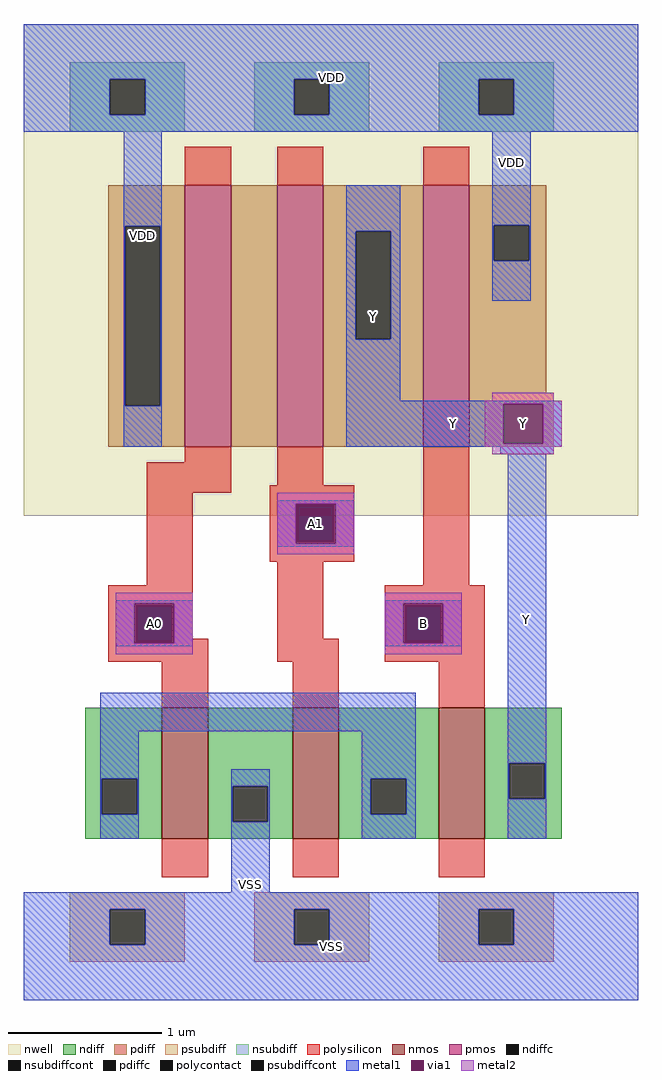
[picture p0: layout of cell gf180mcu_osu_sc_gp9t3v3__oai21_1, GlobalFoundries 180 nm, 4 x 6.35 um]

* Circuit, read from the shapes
.subckt gf180mcu_osu_sc_gp9t3v3__oai21_1 A0 A1 B Y VDD VSS
XM1 VSS A0 n1 VSS nfet_03v3 w=0.85u l=0.3u
XM2 n1 A1 VSS VSS nfet_03v3 w=0.85u l=0.3u
XM3 Y B n1 VSS nfet_03v3 w=0.85u l=0.3u
XM4 n2 A0 VDD VDD pfet_03v3 w=1.7u l=0.3u
XM5 Y A1 n2 VDD pfet_03v3 w=1.7u l=0.3u
XM6 VDD B Y VDD pfet_03v3 w=1.7u l=0.3u
.ends

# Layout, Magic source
magic
tech gf180mcuA
magscale 1 10
<< nwell >>
rect 0 630 800 1270
<< nmos >>
rect 180 210 240 380
rect 350 210 410 380
rect 540 210 600 380
<< pmos >>
rect 210 720 270 1060
rect 330 720 390 1060
rect 520 720 580 1060
<< ndiff >>
rect 80 288 180 380
rect 80 242 102 288
rect 148 242 180 288
rect 80 210 180 242
rect 240 278 350 380
rect 240 232 272 278
rect 318 232 350 278
rect 240 210 350 232
rect 410 288 540 380
rect 410 242 452 288
rect 498 242 540 288
rect 410 210 540 242
rect 600 308 700 380
rect 600 262 632 308
rect 678 262 700 308
rect 600 210 700 262
<< pdiff >>
rect 110 1007 210 1060
rect 110 773 132 1007
rect 178 773 210 1007
rect 110 720 210 773
rect 270 720 330 1060
rect 390 1000 520 1060
rect 390 860 432 1000
rect 478 860 520 1000
rect 390 720 520 860
rect 580 1008 680 1060
rect 580 962 612 1008
rect 658 962 680 1008
rect 580 790 680 962
rect 580 720 690 790
<< ndiffc >>
rect 102 242 148 288
rect 272 232 318 278
rect 452 242 498 288
rect 632 262 678 308
<< pdiffc >>
rect 132 773 178 1007
rect 432 860 478 1000
rect 612 962 658 1008
<< psubdiff >>
rect 60 118 210 140
rect 60 72 112 118
rect 158 72 210 118
rect 60 50 210 72
rect 300 118 450 140
rect 300 72 352 118
rect 398 72 450 118
rect 300 50 450 72
rect 540 118 690 140
rect 540 72 592 118
rect 638 72 690 118
rect 540 50 690 72
<< nsubdiff >>
rect 60 1198 210 1220
rect 60 1152 112 1198
rect 158 1152 210 1198
rect 60 1130 210 1152
rect 300 1198 450 1220
rect 300 1152 352 1198
rect 398 1152 450 1198
rect 300 1130 450 1152
rect 540 1198 690 1220
rect 540 1152 592 1198
rect 638 1152 690 1198
rect 540 1130 690 1152
<< psubdiffcont >>
rect 112 72 158 118
rect 352 72 398 118
rect 592 72 638 118
<< nsubdiffcont >>
rect 112 1152 158 1198
rect 352 1152 398 1198
rect 592 1152 638 1198
<< polysilicon >>
rect 210 1060 270 1110
rect 330 1060 390 1110
rect 520 1060 580 1110
rect 210 700 270 720
rect 160 660 270 700
rect 330 670 390 720
rect 160 540 220 660
rect 320 643 430 670
rect 320 597 357 643
rect 403 597 430 643
rect 320 570 430 597
rect 110 513 220 540
rect 110 467 147 513
rect 193 470 220 513
rect 330 470 390 570
rect 520 540 580 720
rect 470 513 600 540
rect 193 467 240 470
rect 110 440 240 467
rect 330 440 410 470
rect 470 467 497 513
rect 543 467 600 513
rect 470 440 600 467
rect 180 380 240 440
rect 350 380 410 440
rect 540 380 600 440
rect 180 160 240 210
rect 350 160 410 210
rect 540 160 600 210
<< polycontact >>
rect 357 597 403 643
rect 147 467 193 513
rect 497 467 543 513
<< metal1 >>
rect 0 1198 800 1270
rect 0 1152 112 1198
rect 158 1152 352 1198
rect 398 1152 592 1198
rect 638 1152 800 1198
rect 0 1130 800 1152
rect 130 1007 180 1130
rect 130 773 132 1007
rect 178 773 180 1007
rect 130 720 180 773
rect 420 1000 490 1060
rect 420 860 432 1000
rect 478 860 490 1000
rect 610 1008 660 1130
rect 610 962 612 1008
rect 658 962 660 1008
rect 610 910 660 962
rect 420 780 490 860
rect 420 776 700 780
rect 420 724 624 776
rect 676 724 700 776
rect 420 720 700 724
rect 620 710 690 720
rect 330 646 430 650
rect 330 594 354 646
rect 406 594 430 646
rect 330 590 430 594
rect 120 516 220 520
rect 120 464 144 516
rect 196 464 220 516
rect 120 460 220 464
rect 470 516 570 520
rect 470 464 494 516
rect 546 464 570 516
rect 470 460 570 464
rect 100 350 510 400
rect 100 288 150 350
rect 100 242 102 288
rect 148 242 150 288
rect 100 210 150 242
rect 270 278 320 300
rect 270 232 272 278
rect 318 232 320 278
rect 270 140 320 232
rect 440 288 510 350
rect 440 242 452 288
rect 498 242 510 288
rect 440 210 510 242
rect 630 308 680 710
rect 630 262 632 308
rect 678 262 680 308
rect 630 210 680 262
rect 0 118 800 140
rect 0 72 112 118
rect 158 72 352 118
rect 398 72 592 118
rect 638 72 800 118
rect 0 0 800 72
<< via1 >>
rect 624 724 676 776
rect 354 643 406 646
rect 354 597 357 643
rect 357 597 403 643
rect 403 597 406 643
rect 354 594 406 597
rect 144 513 196 516
rect 144 467 147 513
rect 147 467 193 513
rect 193 467 196 513
rect 144 464 196 467
rect 494 513 546 516
rect 494 467 497 513
rect 497 467 543 513
rect 543 467 546 513
rect 494 464 546 467
<< metal2 >>
rect 610 780 690 790
rect 600 776 700 780
rect 600 724 624 776
rect 676 724 700 776
rect 600 720 700 724
rect 610 710 690 720
rect 330 646 430 660
rect 330 594 354 646
rect 406 594 430 646
rect 330 580 430 594
rect 120 516 220 530
rect 120 464 144 516
rect 196 464 220 516
rect 120 450 220 464
rect 470 516 570 530
rect 470 464 494 516
rect 546 464 570 516
rect 470 450 570 464
<< labels >>
rlabel via1 s 144 464 196 516 4 A0
port 1 nsew signal input
rlabel via1 s 354 594 406 646 4 A1
port 2 nsew signal input
rlabel via1 s 494 464 546 516 4 B
port 3 nsew signal input
rlabel via1 s 624 724 676 776 4 Y
port 4 nsew signal output
rlabel metal1 s 130 720 180 1270 4 VDD
port 5 nsew power bidirectional abutment
rlabel metal1 s 270 0 320 300 4 VSS
port 6 nsew ground bidirectional abutment
rlabel metal1 s 610 910 660 1270 1 VDD
port 5 nsew power bidirectional abutment
rlabel metal1 s 0 1130 800 1270 1 VDD
port 5 nsew power bidirectional abutment
rlabel metal1 s 0 0 800 140 1 VSS
port 6 nsew ground bidirectional abutment
rlabel metal2 s 120 450 220 530 1 A0
port 1 nsew signal input
rlabel metal1 s 120 460 220 520 1 A0
port 1 nsew signal input
rlabel metal2 s 330 580 430 660 1 A1
port 2 nsew signal input
rlabel metal1 s 330 590 430 650 1 A1
port 2 nsew signal input
rlabel metal2 s 470 450 570 530 1 B
port 3 nsew signal input
rlabel metal1 s 470 460 570 520 1 B
port 3 nsew signal input
rlabel metal2 s 610 710 690 790 1 Y
port 4 nsew signal output
rlabel metal2 s 600 720 700 780 1 Y
port 4 nsew signal output
rlabel metal1 s 420 720 490 1060 1 Y
port 4 nsew signal output
rlabel metal1 s 630 210 680 780 1 Y
port 4 nsew signal output
rlabel metal1 s 620 710 690 780 1 Y
port 4 nsew signal output
rlabel metal1 s 420 720 700 780 1 Y
port 4 nsew signal output
<< properties >>
string FIXED_BBOX 0 0 800 1270
string GDS_END 342282
string GDS_FILE $PDKPATH/libs.ref/gf180mcu_osu_sc_gp9t3v3/gds/gf180mcu_osu_sc_gp9t3v3.gds
string GDS_START 336862
string LEFclass CORE
string LEFsite gf180mcu_osu_sc_gp9t3v3
string LEFsymmetry X Y
<< end >>
